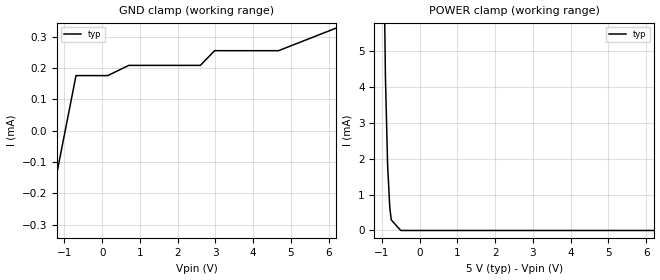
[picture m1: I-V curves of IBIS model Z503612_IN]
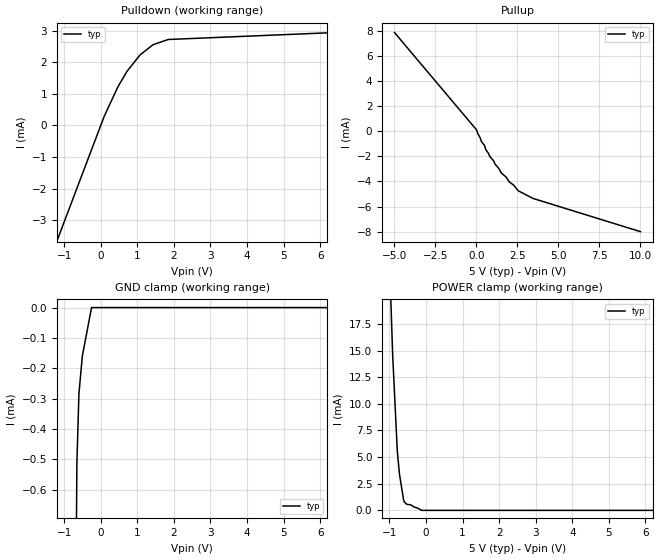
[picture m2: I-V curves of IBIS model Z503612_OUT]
| YOU ARE ONLY AUTHORIZED TO USE THIS SOFTWARE
| ACCORDING TO LICENSOR'S LICENSE RESTRICTIONS.
[IBIS Ver] 3.1
[File Name] mc14508bcp.ibs
[File Rev] 2.0
[Source] Measured and created by ICX Technology
[Date] Friday 7/14/00 9:07:55 AM
[Copyright]
| (C) COPYRIGHT 1993-2000
| MENTOR GRAPHICS CORPORATION
| ICX STANDARD LIBRARY, ICX PROJECT MODELING,
| ICX CUSTOM MODELING, ICX VENDOR MODEL
| ALL RIGHTS RESERVED.
| THE FOLLOWING ARE TRADEMARKS OR SERVICE MARKS OF
| MENTOR GRAPHICS CORPORATION:ICX (R), ICX STANDARD
| LIBRARY(R), ICX PROJECT MODELING(R), ICX CUSTOM
| MODELING(R), qualityIBIS(TM), MODELVIEWER(TM),
| AND MODELEDITOR(TM)
| ALL COPIES OF SOFTWARE, INCLUDING BUT NOT LIMITED TO
| ANY MODIFICATIONS, ENHANCEMENTS OR DERIVATIVE WORKS,
| MUST CONTAIN ALL MENTOR GRAPHICS CORPORATION'S
| NOTICES AND LEGENDS, INCLUDING THOSE EMBEDDED IN
| SOFTWARE AND THOSE AFFIXED TO SOFTWARE MEDIUM
| AND CONTAINER, AS RECEIVED FROM MENTOR GRAPHICS
| CORPORATION.
|  ZAP Model Builder 2.7
[Component] MC14508BCP
[Manufacturer] OnSemiconductor
[Package]
| variable   typ   min   max
R_pkg  .32ohms NA NA
L_pkg  7.343nH NA NA
C_pkg  1.787pF NA NA
[Pin] signal_name  model_name  R_pin  L_pin C_pin
1 MR Z503612_IN .34 11.51n 2.512p
2 STRB Z503612_IN .332 9.51n 2.222p
3 DISABLE Z503612_IN .324 7.76n 1.932p
4 D0A Z503612_IN .316 6.26n 1.642p
5 Q0A Z503612_OUT .308 5.01n 1.352p
6 D1A Z503612_IN .3 4.01n 1.062p
7 Q1A Z503612_OUT .3 4.01n 1.062p
8 D2A Z503612_IN .308 5.01n 1.352p
9 Q2A Z503612_OUT .316 6.26n 1.642p
10 D3A Z503612_IN .324 7.76n 1.932p
11 Q3A Z503612_OUT .332 9.51n 2.222p
12 VSS POWER .34 11.51n 2.512p
13 MR Z503612_IN .34 11.51n 2.512p
14 STRB Z503612_IN .332 9.51n 2.222p
15 DISABLE Z503612_IN .324 7.76n 1.932p
16 D0B Z503612_IN .316 6.26n 1.642p
17 Q0B Z503612_OUT .308 5.01n 1.352p
18 D1B Z503612_IN .3 4.01n 1.062p
19 Q1B Z503612_OUT .3 4.01n 1.062p
20 D2B Z503612_IN .308 5.01n 1.352p
21 Q2B Z503612_OUT .316 6.26n 1.642p
22 D3B Z503612_IN .324 7.76n 1.932p
23 Q3B Z503612_OUT .332 9.51n 2.222p
24 VDD POWER .34 11.51n 2.512p
| Models and submodels in the file (2): Z503612_IN (Input), Z503612_OUT (Output)
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| (C) COPYRIGHT 1993-2000
| MENTOR GRAPHICS CORPORATION
| ICX STANDARD LIBRARY, ICX PROJECT MODELING,
| ICX CUSTOM MODELING, ICX VENDOR MODEL
| ALL RIGHTS RESERVED.
| THE FOLLOWING ARE TRADEMARKS OR SERVICE MARKS OF
| MENTOR GRAPHICS CORPORATION:ICX (R), ICX STANDARD
| LIBRARY(R), ICX PROJECT MODELING(R), ICX CUSTOM
| MODELING(R), qualityIBIS(TM), MODELVIEWER(TM),
| AND MODELEDITOR(TM)
| ALL COPIES OF SOFTWARE, INCLUDING BUT NOT LIMITED TO
| ANY MODIFICATIONS, ENHANCEMENTS OR DERIVATIVE WORKS,
| MUST CONTAIN ALL MENTOR GRAPHICS CORPORATION'S
| NOTICES AND LEGENDS, INCLUDING THOSE EMBEDDED IN
| SOFTWARE AND THOSE AFFIXED TO SOFTWARE MEDIUM
| AND CONTAINER, AS RECEIVED FROM MENTOR GRAPHICS
| CORPORATION.
| Model Application Version 1.89 2/18/99.
[Model] Z503612_IN
Model_type Input
Vinl = 1.500V
Vinh = 3.500V
C_comp 4.000pF NA NA
| variable typ   min   max
[Voltage Range] 5.000V NA NA
[GND Clamp Reference] 0.000V NA NA
[POWER Clamp Reference] 5.000V NA NA
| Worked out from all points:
|   POWER clamp passes 1 mA (typ) near -0.81 V on its own axis
[GND Clamp]
-5V       -2.47mA    NA         NA
-694mV    175.3uA    NA         NA
146.8mV   175.3uA    NA         NA
703.7mV   207.9uA    NA         NA
2.6V      207.9uA    NA         NA
2.979V    254.8uA    NA         NA
4.67V     254.8uA    NA         NA
10V       506.3uA    NA         NA
[POWER Clamp]
-5V       758.9mA    NA         NA
-1.191V   39.43mA    NA         NA
-1.054V   18.32mA    NA         NA
-1.001V   11.96mA    NA         NA
-908mV    4.276mA    NA         NA
-850mV    1.816mA    NA         NA
-792mV    626uA      NA         NA
-752mV    292.5uA    NA         NA
-501.3mV  0A         NA         NA
10V       0A         NA         NA
| (C) COPYRIGHT 1993-2000
| MENTOR GRAPHICS CORPORATION
| ICX STANDARD LIBRARY, ICX PROJECT MODELING,
| ICX CUSTOM MODELING, ICX VENDOR MODEL
| ALL RIGHTS RESERVED.
| THE FOLLOWING ARE TRADEMARKS OR SERVICE MARKS OF
| MENTOR GRAPHICS CORPORATION:ICX (R), ICX STANDARD
| LIBRARY(R), ICX PROJECT MODELING(R), ICX CUSTOM
| MODELING(R), qualityIBIS(TM), MODELVIEWER(TM),
| AND MODELEDITOR(TM)
| ALL COPIES OF SOFTWARE, INCLUDING BUT NOT LIMITED TO
| ANY MODIFICATIONS, ENHANCEMENTS OR DERIVATIVE WORKS,
| MUST CONTAIN ALL MENTOR GRAPHICS CORPORATION'S
| NOTICES AND LEGENDS, INCLUDING THOSE EMBEDDED IN
| SOFTWARE AND THOSE AFFIXED TO SOFTWARE MEDIUM
| AND CONTAINER, AS RECEIVED FROM MENTOR GRAPHICS
| CORPORATION.
| Model Application Version 1.89 2/18/99.
[Model] Z503612_OUT
Model_type Output
Vref=0.000V
Rref=500.0Mohms
Cref=50.00pF
Vmeas=2.500V
C_comp 8.000pF NA NA
| variable typ   min   max
[Voltage Range] 5.000V NA NA
[POWER Clamp Reference] 5.000V NA NA
[Pullup Reference] 5.000V NA NA
[Pulldown Reference] 0.000V NA NA
[GND Clamp Reference] 0.000V NA NA
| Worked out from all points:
|   slope of the pulldown table from 0 to 0.75 V, typ, clamps not added: 426 ohm
|   slope of the pullup table from 0 to 0.75 V, typ, clamps not added: 390 ohm
|   POWER clamp passes 1 mA (typ) near -0.62 V on its own axis
[GND Clamp]
-5V       -72.01mA   NA         NA
-653.5mV  -514.3uA   NA         NA
-597.7mV  -284.9uA   NA         NA
-504.4mV  -160.1uA   NA         NA
-252.2mV  0A         NA         NA
10V       0A         NA         NA
[Pulldown]
-5V       -15.28mA   NA         NA
93.04mV   285.6uA    NA         NA
463.9mV   1.212mA    NA         NA
717.2mV   1.713mA    NA         NA
1.073V    2.233mA    NA         NA
1.43V     2.557mA    NA         NA
1.846V    2.723mA    NA         NA
10V       3.117mA    NA         NA
[Pullup]
-5V       7.866mA    NA         NA
5mV       111uA      NA         NA
305mV     -821.7uA   NA         NA
483mV     -1.112mA   NA         NA
562mV     -1.441mA   NA         NA
819mV     -2.025mA   NA         NA
1.039V    -2.339mA   NA         NA
1.141V    -2.627mA   NA         NA
1.515V    -3.322mA   NA         NA
2.55V     -4.745mA   NA         NA
3.451V    -5.355mA   NA         NA
10V       -8.001mA   NA         NA
[POWER Clamp]
-5V       576.1mA    NA         NA
-1.024V   26.02mA    NA         NA
-914mV    14.64mA    NA         NA
-787mV    5.578mA    NA         NA
-727mV    3.392mA    NA         NA
-614mV    969.9uA    NA         NA
-595mV    798.4uA    NA         NA
-531mV    575.5uA    NA         NA
-415mV    510.3uA    NA         NA
-117.5mV  0A         NA         NA
10V       0A         NA         NA
[Ramp]
| variable typ min max
dV/dt_r 2.575/13.46n NA NA
dV/dt_f 2.575/13.20n NA NA
R_load = 2.500kOhms
